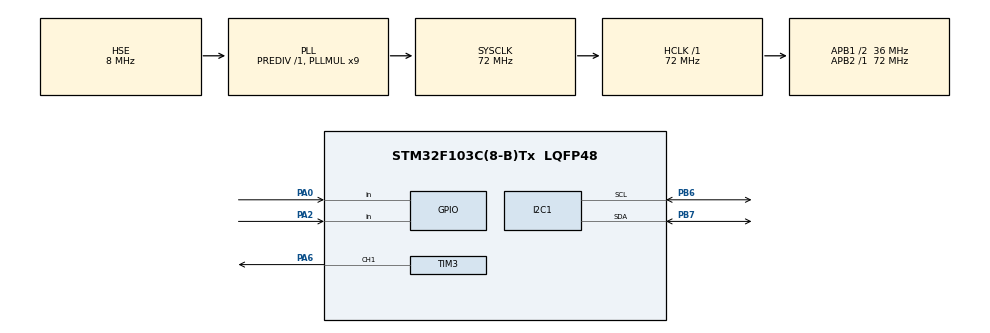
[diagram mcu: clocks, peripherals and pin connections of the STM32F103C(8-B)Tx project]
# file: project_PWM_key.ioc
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Mcu.Family=STM32F1
Mcu.Name=STM32F103C(8-B)Tx
Mcu.Package=LQFP48
NVIC.PriorityGroup=NVIC_PRIORITYGROUP_4
PA0-WKUP.GPIO_PuPd=GPIO_PULLUP
PA0-WKUP.Signal=GPIO_Input
PA13.Mode=Serial_Wire
PA13.Signal=SYS_JTMS-SWDIO
PA14.Mode=Serial_Wire
PA14.Signal=SYS_JTCK-SWCLK
PA2.GPIO_PuPd=GPIO_PULLUP
PA2.Signal=GPIO_Input
PA6.Signal=S_TIM3_CH1
PB6.Mode=I2C
PB6.Signal=I2C1_SCL
PB7.Mode=I2C
PB7.Signal=I2C1_SDA
PD0-OSC_IN.Mode=HSE-External-Oscillator
PD0-OSC_IN.Signal=RCC_OSC_IN
PD1-OSC_OUT.Mode=HSE-External-Oscillator
PD1-OSC_OUT.Signal=RCC_OSC_OUT
ProjectManager.HeapSize=0x200
ProjectManager.StackSize=0x400
ProjectManager.TargetToolchain=MDK-ARM V5.32
RCC.AHBFreq_Value=72000000
RCC.APB1CLKDivider=RCC_HCLK_DIV2
RCC.APB1Freq_Value=36000000
RCC.APB1TimFreq_Value=72000000
RCC.APB2Freq_Value=72000000
RCC.APB2TimFreq_Value=72000000
RCC.HCLKFreq_Value=72000000
RCC.PLLMUL=RCC_PLL_MUL9
RCC.PLLSourceVirtual=RCC_PLLSOURCE_HSE
RCC.SYSCLKFreq_VALUE=72000000
RCC.SYSCLKSource=RCC_SYSCLKSOURCE_PLLCLK
RCC.USBFreq_Value=72000000
SH.S_TIM3_CH1.0=TIM3_CH1,PWM Generation1 CH1
TIM3.Channel-PWM\ Generation1\ CH1=TIM_CHANNEL_1
TIM3.Period=99
TIM3.Prescaler=71
board=custom

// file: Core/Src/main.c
/* USER CODE BEGIN Header */
/**
  ******************************************************************************
  * @file           : main.c
  * @brief          : Main program body
  ******************************************************************************
  * @attention
  *
  * Copyright (c) 2026 STMicroelectronics.
  * All rights reserved.
  *
  * This software is licensed under terms that can be found in the LICENSE file
  * in the root directory of this software component.
  * If no LICENSE file comes with this software, it is provided AS-IS.
  *
  ******************************************************************************
  */
/* USER CODE END Header */
#include "main.h"
#include "i2c.h"
#include "tim.h"
#include "gpio.h"

/* USER CODE BEGIN Includes */
#include "oled.h"   // 包含你刚加进来的OLED头文件

/* USER CODE END Includes */

/* USER CODE BEGIN PV */
uint8_t duty_cycle = 50; // 初始占空比 50%
/* USER CODE END PV */

void SystemClock_Config(void);

int main(void)
{

  /* MCU Configuration--------------------------------------------------------*/

  /* Reset of all peripherals, Initializes the Flash interface and the Systick. */
  HAL_Init();

  /* Configure the system clock */
  SystemClock_Config();

  /* Initialize all configured peripherals */
  MX_GPIO_Init();
  MX_I2C1_Init();
  MX_TIM3_Init();
  /* USER CODE BEGIN 2 */
// 1. 启动 PWM 输出 (PA6)
	HAL_TIM_PWM_Start(&htim3, TIM_CHANNEL_1);
	__HAL_TIM_SET_COMPARE(&htim3, TIM_CHANNEL_1, duty_cycle); // 写入初始占空比

	// 2. 初始化 OLED 并显示静态文字
	HAL_Delay(200); // 给屏幕一点上电时间
	OLED_Init();
	OLED_Clear();
	OLED_ShowString(1, 1, "Duty:"); // 第1行第1列
	OLED_ShowString(1, 6, "%");     // 第1行第6列
  /* USER CODE END 2 */

  /* Infinite loop */
  while (1)
  {

    /* USER CODE BEGIN 3 */
	// ----------------- 增加按键 (PA0) -----------------
if (HAL_GPIO_ReadPin(GPIOA, GPIO_PIN_0) == GPIO_PIN_RESET)
{
    HAL_Delay(20); // 软件消抖
    if (HAL_GPIO_ReadPin(GPIOA, GPIO_PIN_0) == GPIO_PIN_RESET)
    {
        if (duty_cycle <= 95)
            duty_cycle += 5;
        else
            duty_cycle = 100; // 上限限幅

        // 更新硬件 PWM，灯变亮
        __HAL_TIM_SET_COMPARE(&htim3, TIM_CHANNEL_1, duty_cycle);

        // 等待按键松开
        while (HAL_GPIO_ReadPin(GPIOA, GPIO_PIN_0) == GPIO_PIN_RESET);
    }
}

// ----------------- 减少按键 (PA2) -----------------
if (HAL_GPIO_ReadPin(GPIOA, GPIO_PIN_2) == GPIO_PIN_RESET)
{
    HAL_Delay(20); // 软件消抖
    if (HAL_GPIO_ReadPin(GPIOA, GPIO_PIN_2) == GPIO_PIN_RESET)
    {
        if (duty_cycle >= 5)
            duty_cycle -= 5;
        else
            duty_cycle = 0; // 下限限幅

        // 更新硬件 PWM，灯变暗
        __HAL_TIM_SET_COMPARE(&htim3, TIM_CHANNEL_1, duty_cycle);

        // 等待按键松开
        while (HAL_GPIO_ReadPin(GPIOA, GPIO_PIN_2) == GPIO_PIN_RESET);
    }
}

// ----------------- OLED 刷新显示 -----------------
// 在第1行，第6列，显示占空比数字（长度为3位，比如 050, 100）
OLED_ShowNum(1, 6, duty_cycle, 3);

// 加个小小的延时，防止刷新太快屏幕闪烁，也能让按键更稳定
HAL_Delay(50);
  }
  /* USER CODE END 3 */
}

void SystemClock_Config(void)
{
  RCC_OscInitTypeDef RCC_OscInitStruct = {0};
  RCC_ClkInitTypeDef RCC_ClkInitStruct = {0};

  /** Initializes the RCC Oscillators according to the specified parameters
  * in the RCC_OscInitTypeDef structure.
  */
  RCC_OscInitStruct.OscillatorType = RCC_OSCILLATORTYPE_HSE;
  RCC_OscInitStruct.HSEState = RCC_HSE_ON;
  RCC_OscInitStruct.HSEPredivValue = RCC_HSE_PREDIV_DIV1;
  RCC_OscInitStruct.HSIState = RCC_HSI_ON;
  RCC_OscInitStruct.PLL.PLLState = RCC_PLL_ON;
  RCC_OscInitStruct.PLL.PLLSource = RCC_PLLSOURCE_HSE;
  RCC_OscInitStruct.PLL.PLLMUL = RCC_PLL_MUL9;
  if (HAL_RCC_OscConfig(&RCC_OscInitStruct) != HAL_OK)
  {
    Error_Handler();
  }

  /** Initializes the CPU, AHB and APB buses clocks
  */
  RCC_ClkInitStruct.ClockType = RCC_CLOCKTYPE_HCLK|RCC_CLOCKTYPE_SYSCLK
                              |RCC_CLOCKTYPE_PCLK1|RCC_CLOCKTYPE_PCLK2;
  RCC_ClkInitStruct.SYSCLKSource = RCC_SYSCLKSOURCE_PLLCLK;
  RCC_ClkInitStruct.AHBCLKDivider = RCC_SYSCLK_DIV1;
  RCC_ClkInitStruct.APB1CLKDivider = RCC_HCLK_DIV2;
  RCC_ClkInitStruct.APB2CLKDivider = RCC_HCLK_DIV1;

  if (HAL_RCC_ClockConfig(&RCC_ClkInitStruct, FLASH_LATENCY_2) != HAL_OK)
  {
    Error_Handler();
  }
}

void Error_Handler(void)
{
  __disable_irq();
  while (1)
  {
  }
}
